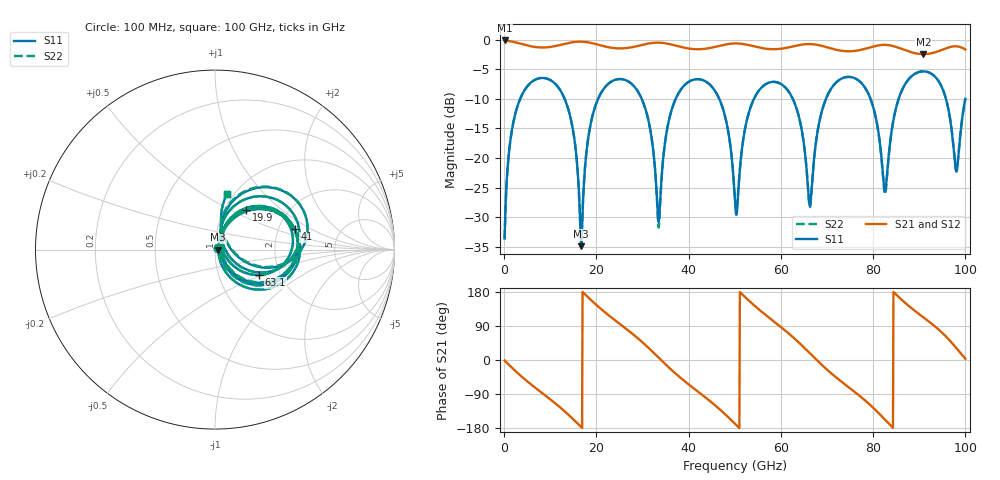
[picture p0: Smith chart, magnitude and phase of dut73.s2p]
! Touchstone file exported from HFSS 2026.1.0
!  File:  C:/ffzhzh/LocalFiles/Ansys_Project_Files/temp_train_TSV_RDL_73_1783627528_29156.aedt
!  Generated:  04:15:49 AM Jul 10, 2026
!  Design:  TSV_RDL
!  Project:  temp_train_TSV_RDL_73_1783627528_29156
! Variables:
!  h_bsmrdl = 3.06um
!  h_ox = 20um
!  h_rdl = 5um
!  h_sub = 91.39um
!  h_tmrdl = 2.08um
!  h_tsv = 91.39um
!  h_via = 3um
!  l_bsmrdl = 542.75um
!  l_sub = 3420.45um
!  l_tmrdl = 306.47um
!  m_sub = 200um
!  pitch = 51.47um
!  r_tsv = 6.3um
!  s_tmrdl = 10um
!  w_bsmrdl = 28.08um
!  w_sub = 500um
!  w_tmrdl = 27.36um
!  x_tsv_center1 = 320.15um
!  x_tsv_center2 = 890.98um
!  x_tsv_center3 = 1224.81um
!  x_tsv_center4 = 1795.64um
!  x_tsv_center5 = 2129.47um
!  x_tsv_center6 = 2700.3um
# GHz S MA R 50.000000
! Terminal data exported
! Port[1] = TM_RDL1_1_T1
! Port[2] = TM_RDL5_1_T1
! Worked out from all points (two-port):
!   1000 points, 100 MHz to 100 GHz, reference 50 ohm
!   highest |S21| = -0.15 dB at 100 MHz (marker M1); lowest = -2.5 dB at 90.9 GHz (marker M2)
!   |S21| within 3 dB of the highest: start of sweep to end of sweep
!   lowest |S11| = -34.9 dB at 16.7 GHz (marker M3), VSWR 1.04, Z = 51.8 + j0.0158 ohm
!   |S11| at or under -10 dB: 13.11 GHz to 20.38 GHz (7.269 GHz wide, 43.4 % of centre); 29.82 GHz to 37.19 GHz (7.376 GHz wide, 22 % of centre); 46.63 GHz to 54.17 GHz (7.543 GHz wide, 15 % of centre) (the widest 3 of 7)
!   |S22| runs from -34.6 to -5.4 dB; largest |S21 - S12| = 4.8e-13
!   S11 on the Smith chart (normalised r, x): 100 MHz: 1.04, +0.02; 19.9 GHz: 1.26, +0.61; 41 GHz: 2.45, +0.71; 63.1 GHz: 1.56, -0.48; 100 GHz: 0.93, +0.64
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0.1  0.02088 32.8  0.9826 -1.3  0.9826 -1.3  0.02088 32.8
! Gamma 0 0 0 0
! Port Impedance 50 0 50 0
2.5  0.2428 54.7  0.9462 -29.7  0.9462 -29.7  0.2428 54.7
8.2  0.4741 1.3  0.857 -86.9  0.857 -86.9  0.4741 1.3
14  0.2506 -53.4  0.9361 -145.1  0.9361 -145.1  0.2505 -53.3
16.7  0.018 0.5  0.9604 -176.8  0.9604 -176.8  0.01872 0.8
16.8  0.02038 28.3  0.9601 -178.0  0.9601 -178.0  0.02106 27.6
19.9  0.284 51.9  0.9147 146.3  0.9147 146.3  0.2841 51.7
29  0.3641 -31.3  0.8832 57.2  0.8832 57.2  0.3641 -31.5
33.4  0.03019 -11.5  0.9417 7.4  0.9417 7.4  0.0275 -13.5
36.1  0.2385 58.6  0.911 -24.1  0.911 -24.1  0.2381 59.4
41  0.4577 14.4  0.831 -73.8  0.831 -73.8  0.4575 14.9
47.1  0.2845 -40.0  0.8934 -134.1  0.8934 -134.1  0.2847 -39.3
50.1  0.04015 -25.1  0.9275 -168.8  0.9275 -168.8  0.0424 -22.5
54.9  0.3555 42.7  0.8633 136.9  0.8633 136.9  0.3558 42.5
63.1  0.2825 -30.0  0.8832 55.0  0.8832 55.0  0.2825 -30.1
66.7  0.05727 58.3  0.9146 12.7  0.9146 12.7  0.05662 59.1
73.5  0.4746 27.6  0.8006 -60.7  0.8006 -60.7  0.4744 27.7
79.1  0.3392 -20.6  0.8537 -115.8  0.8537 -115.8  0.3387 -20.7
83.4  0.1078 72.0  0.8963 -167.9  0.8963 -167.9  0.1061 74.0
90.9  0.5388 21.7  0.7532 112.5  0.7532 112.5  0.5388 22.4
98  0.0768 23.2  0.8769 32.0  0.8769 32.0  0.07908 24.0
100  0.3162 77.8  0.824 3.3  0.824 3.3  0.317 78.0
